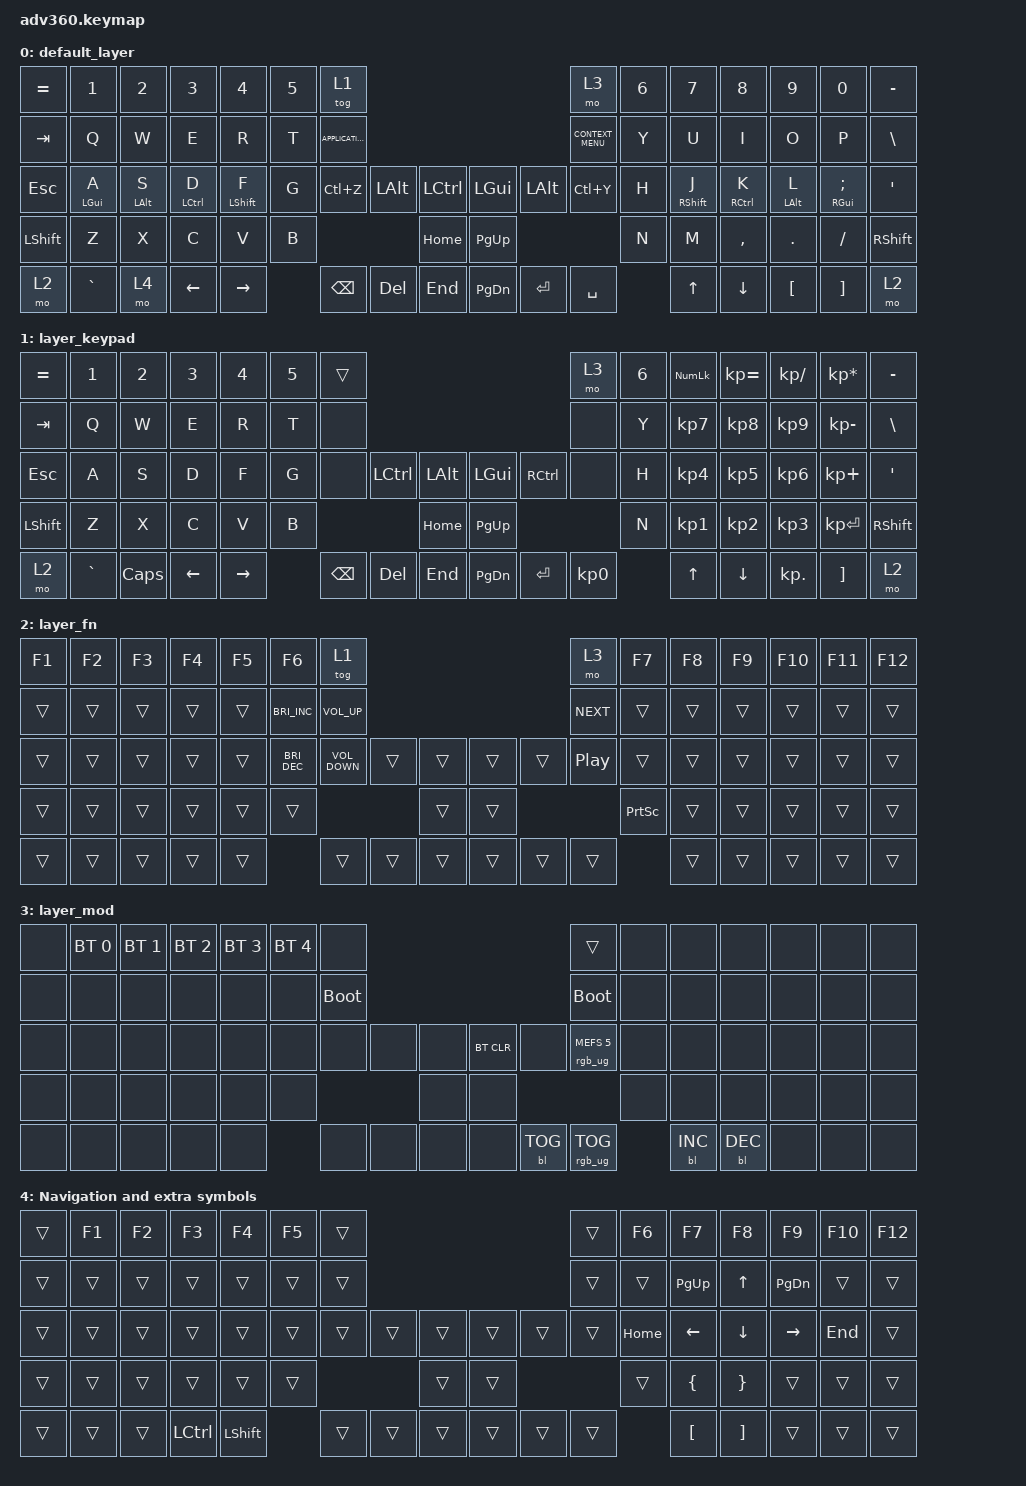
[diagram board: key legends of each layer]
/*
 * Copyright (c) 2020 The ZMK Contributors
 *
 * SPDX-License-Identifier: MIT
 */
/* THIS FILE WAS GENERATED!
 *
 * This file was generated automatically. You may or may not want to
 * edit it directly.
 */

#include <behaviors.dtsi>
#include <dt-bindings/zmk/backlight.h>
#include <dt-bindings/zmk/bt.h>
#include <dt-bindings/zmk/keys.h>
#include <dt-bindings/zmk/rgb.h>

/ {
    behaviors {
        #include "macros.dtsi"

        hm: homerow_mods {
            compatible = "zmk,behavior-hold-tap";
            label = "HOMEROW_MODS";
            #binding-cells = <2>;
            tapping-term-ms = <200>;
            quick_tap_ms = <175>;
            flavor = "balanced";
            bindings = <&kp>, <&kp>;
        };
    };

    combos {
        compatible = "zmk,combos";

        Autoformat {
            bindings = <&Autoformat>;
            key-positions = <34 39>;
        };

        copy-cut {
            bindings = <&hm LG(X) LG(C)>;
            key-positions = <49 48>;
        };

        paste {
            bindings = <&kp LG(V)>;
            key-positions = <50 49>;
        };

        language {
            bindings = <&kp LA(LEFT_SHIFT)>;
            key-positions = <55 56>;
        };
    };

    macros {
        Autoformat: Autoformat {
            compatible = "zmk,behavior-macro";
            label = "AUTOFORMAT";
            #binding-cells = <0>;
            bindings = <&kp LC(K) &kp D>;
        };
    };

    keymap {
        compatible = "zmk,keymap";

        default_layer {
            bindings = <
&kp EQUAL  &kp N1          &kp N2          &kp N3       &kp N4            &kp N5  &tog 1                                                                &mo 3               &kp N6  &kp N7             &kp N8       &kp N9          &kp N0                   &kp MINUS
&kp TAB    &kp Q           &kp W           &kp E        &kp R             &kp T   &kp K_APPLICATION                                                     &kp K_CONTEXT_MENU  &kp Y   &kp U              &kp I        &kp O           &kp P                    &kp BSLH
&kp ESC    &hm LEFT_GUI A  &hm LEFT_ALT S  &hm LCTRL D  &hm LEFT_SHIFT F  &kp G   &kp LC(Z)          &kp LEFT_ALT  &kp LCTRL      &kp LGUI   &kp LALT   &kp LC(Y)           &kp H   &hm RIGHT_SHIFT J  &hm RCTRL K  &hm LEFT_ALT L  &hm RIGHT_GUI SEMICOLON  &kp SQT
&kp LSHFT  &kp Z           &kp X           &kp C        &kp V             &kp B                                    &kp HOME       &kp PG_UP                                 &kp N   &kp M              &kp COMMA    &kp DOT         &kp FSLH                 &kp RSHFT
&mo 2      &kp GRAVE       &mo 4           &kp LEFT     &kp RIGHT                 &kp BSPC           &kp DEL       &kp END        &kp PG_DN  &kp ENTER  &kp SPACE                   &kp UP             &kp DOWN     &kp LBKT        &kp RBKT                 &mo 2
            >;
        };

        layer_keypad {
            bindings = <
&kp EQUAL  &kp N1     &kp N2    &kp N3    &kp N4     &kp N5  &trans                                                   &mo 3      &kp N6  &kp KP_NUM  &kp KP_EQUAL  &kp KP_DIVIDE  &kp KP_MULTIPLY  &kp MINUS
&kp TAB    &kp Q      &kp W     &kp E     &kp R      &kp T   &none                                                    &none      &kp Y   &kp KP_N7   &kp KP_N8     &kp KP_N9      &kp KP_MINUS     &kp BSLH
&kp ESC    &kp A      &kp S     &kp D     &kp F      &kp G   &none     &kp LCTRL  &kp LALT      &kp LGUI   &kp RCTRL  &none      &kp H   &kp KP_N4   &kp KP_N5     &kp KP_N6      &kp KP_PLUS      &kp SQT
&kp LSHFT  &kp Z      &kp X     &kp C     &kp V      &kp B                        &kp HOME      &kp PG_UP                        &kp N   &kp KP_N1   &kp KP_N2     &kp KP_N3      &kp KP_ENTER     &kp RSHFT
&mo 2      &kp GRAVE  &kp CAPS  &kp LEFT  &kp RIGHT          &kp BSPC  &kp DEL    &kp END       &kp PG_DN  &kp ENTER  &kp KP_N0          &kp UP      &kp DOWN      &kp KP_DOT     &kp RBKT         &mo 2
            >;
        };

        layer_fn {
            bindings = <
&kp F1  &kp F2  &kp F3  &kp F4  &kp F5  &kp F6                &tog 1                                                 &mo 3             &kp F7           &kp F8  &kp F9  &kp F10  &kp F11  &kp F12
&trans  &trans  &trans  &trans  &trans  &kp C_BRIGHTNESS_INC  &kp C_VOLUME_UP                                        &kp C_NEXT        &trans           &trans  &trans  &trans   &trans   &trans
&trans  &trans  &trans  &trans  &trans  &kp C_BRIGHTNESS_DEC  &kp C_VOLUME_DOWN  &trans  &trans      &trans  &trans  &kp C_PLAY_PAUSE  &trans           &trans  &trans  &trans   &trans   &trans
&trans  &trans  &trans  &trans  &trans  &trans                                           &trans      &trans                            &kp PRINTSCREEN  &trans  &trans  &trans   &trans   &trans
&trans  &trans  &trans  &trans  &trans                        &trans             &trans  &trans      &trans  &trans  &trans                             &trans  &trans  &trans   &trans   &trans
            >;
        };

        layer_mod {
            bindings = <
&none  &bt BT_SEL 0  &bt BT_SEL 1  &bt BT_SEL 2  &bt BT_SEL 3  &bt BT_SEL 4  &none                                                  &trans                  &none  &none       &none       &none  &none  &none
&none  &none         &none         &none         &none         &none         &bootloader                                            &bootloader             &none  &none       &none       &none  &none  &none
&none  &none         &none         &none         &none         &none         &none        &none  &none      &bt BT_CLR  &none       &rgb_ug RGB_MEFS_CMD 5  &none  &none       &none       &none  &none  &none
&none  &none         &none         &none         &none         &none                             &none      &none                                           &none  &none       &none       &none  &none  &none
&none  &none         &none         &none         &none                       &none        &none  &none      &none       &bl BL_TOG  &rgb_ug RGB_TOG                &bl BL_INC  &bl BL_DEC  &none  &none  &none
            >;
        };

        layer_rm {
            bindings = <
&trans  &kp F1  &kp F2  &kp F3            &kp F4          &kp F5  &trans                                      &trans  &kp F6    &kp F7            &kp F8             &kp F9           &kp F10  &kp F12
&trans  &trans  &trans  &trans            &trans          &trans  &trans                                      &trans  &trans    &kp PAGE_UP       &kp UP_ARROW       &kp PAGE_DOWN    &trans   &trans
&trans  &trans  &trans  &trans            &trans          &trans  &trans  &trans  &trans      &trans  &trans  &trans  &kp HOME  &kp LEFT_ARROW    &kp DOWN_ARROW     &kp RIGHT_ARROW  &kp END  &trans
&trans  &trans  &trans  &trans            &trans          &trans                  &trans      &trans                  &trans    &kp LEFT_BRACE    &kp RIGHT_BRACE    &trans           &trans   &trans
&trans  &trans  &trans  &kp LEFT_CONTROL  &kp LEFT_SHIFT          &trans  &trans  &trans      &trans  &trans  &trans            &kp LEFT_BRACKET  &kp RIGHT_BRACKET  &trans           &trans   &trans
            >;

            label = "Navigation and extra symbols";
        };
    };
};
